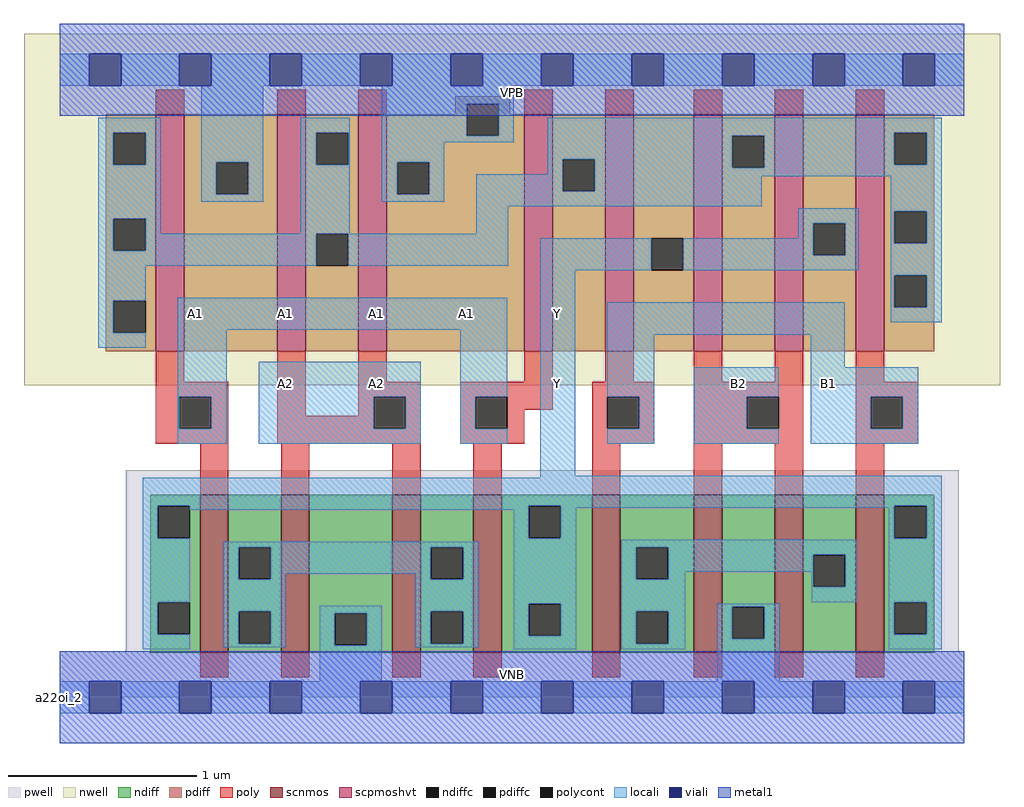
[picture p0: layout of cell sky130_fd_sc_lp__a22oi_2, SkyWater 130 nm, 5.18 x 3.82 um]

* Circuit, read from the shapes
.subckt sky130_fd_sc_lp__a22oi_2 A1 A2 B1 B2 VGND VNB VPB VPWR Y
XM1 n1 A1 Y VNB sky130_fd_pr__nfet_01v8 w=0.84 l=0.15 m=2
XM2 VGND A2 n1 VNB sky130_fd_pr__nfet_01v8 w=0.84 l=0.15 m=2
XM3 n2 B1 Y VNB sky130_fd_pr__nfet_01v8 w=0.84 l=0.15 m=2
XM4 VGND B2 n2 VNB sky130_fd_pr__nfet_01v8 w=0.84 l=0.15 m=2
XM5 VPWR A1 n3 VPB sky130_fd_pr__pfet_01v8_hvt w=1.26 l=0.15 m=2
XM6 n3 A2 VPWR VPB sky130_fd_pr__pfet_01v8_hvt w=1.26 l=0.15 m=2
XM7 Y B1 n3 VPB sky130_fd_pr__pfet_01v8_hvt w=1.26 l=0.15 m=2
XM8 n3 B2 Y VPB sky130_fd_pr__pfet_01v8_hvt w=1.26 l=0.15 m=2
.ends

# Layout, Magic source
magic
tech sky130A
magscale 1 2
<< nwell >>
rect -38 331 998 704
<< pwell >>
rect 70 49 954 241
rect 0 0 960 49
<< scnmos >>
rect 149 47 179 215
rect 235 47 265 215
rect 353 47 383 215
rect 439 47 469 215
rect 565 47 595 215
rect 673 47 703 215
rect 759 47 789 215
rect 845 47 875 215
<< scpmoshvt >>
rect 102 367 132 619
rect 231 367 261 619
rect 317 367 347 619
rect 493 367 523 619
rect 579 367 609 619
rect 673 367 703 619
rect 759 367 789 619
rect 845 367 875 619
<< ndiff >>
rect 96 203 149 215
rect 96 169 104 203
rect 138 169 149 203
rect 96 101 149 169
rect 96 67 104 101
rect 138 67 149 101
rect 96 47 149 67
rect 179 159 235 215
rect 179 125 190 159
rect 224 125 235 159
rect 179 91 235 125
rect 179 57 190 91
rect 224 57 235 91
rect 179 47 235 57
rect 265 89 353 215
rect 265 55 292 89
rect 326 55 353 89
rect 265 47 353 55
rect 383 159 439 215
rect 383 125 394 159
rect 428 125 439 159
rect 383 91 439 125
rect 383 57 394 91
rect 428 57 439 91
rect 383 47 439 57
rect 469 203 565 215
rect 469 169 498 203
rect 532 169 565 203
rect 469 99 565 169
rect 469 65 498 99
rect 532 65 565 99
rect 469 47 565 65
rect 595 159 673 215
rect 595 125 612 159
rect 646 125 673 159
rect 595 91 673 125
rect 595 57 612 91
rect 646 57 673 91
rect 595 47 673 57
rect 703 96 759 215
rect 703 62 714 96
rect 748 62 759 96
rect 703 47 759 62
rect 789 151 845 215
rect 789 117 800 151
rect 834 117 845 151
rect 789 47 845 117
rect 875 203 928 215
rect 875 169 886 203
rect 920 169 928 203
rect 875 101 928 169
rect 875 67 886 101
rect 920 67 928 101
rect 875 47 928 67
<< pdiff >>
rect 420 630 478 638
rect 420 619 432 630
rect 49 599 102 619
rect 49 565 57 599
rect 91 565 102 599
rect 49 508 102 565
rect 49 474 57 508
rect 91 474 102 508
rect 49 421 102 474
rect 49 387 57 421
rect 91 387 102 421
rect 49 367 102 387
rect 132 568 231 619
rect 132 534 166 568
rect 200 534 231 568
rect 132 367 231 534
rect 261 599 317 619
rect 261 565 272 599
rect 306 565 317 599
rect 261 492 317 565
rect 261 458 272 492
rect 306 458 317 492
rect 261 367 317 458
rect 347 596 432 619
rect 466 619 478 630
rect 466 596 493 619
rect 347 568 493 596
rect 347 534 358 568
rect 392 534 493 568
rect 347 367 493 534
rect 523 571 579 619
rect 523 537 534 571
rect 568 537 579 571
rect 523 367 579 537
rect 609 487 673 619
rect 609 453 628 487
rect 662 453 673 487
rect 609 367 673 453
rect 703 596 759 619
rect 703 562 714 596
rect 748 562 759 596
rect 703 367 759 562
rect 789 503 845 619
rect 789 469 800 503
rect 834 469 845 503
rect 789 367 845 469
rect 875 599 928 619
rect 875 565 886 599
rect 920 565 928 599
rect 875 516 928 565
rect 875 482 886 516
rect 920 482 928 516
rect 875 448 928 482
rect 875 414 886 448
rect 920 414 928 448
rect 875 367 928 414
<< ndiffc >>
rect 104 169 138 203
rect 104 67 138 101
rect 190 125 224 159
rect 190 57 224 91
rect 292 55 326 89
rect 394 125 428 159
rect 394 57 428 91
rect 498 169 532 203
rect 498 65 532 99
rect 612 125 646 159
rect 612 57 646 91
rect 714 62 748 96
rect 800 117 834 151
rect 886 169 920 203
rect 886 67 920 101
<< pdiffc >>
rect 57 565 91 599
rect 57 474 91 508
rect 57 387 91 421
rect 166 534 200 568
rect 272 565 306 599
rect 272 458 306 492
rect 432 596 466 630
rect 358 534 392 568
rect 534 537 568 571
rect 628 453 662 487
rect 714 562 748 596
rect 800 469 834 503
rect 886 565 920 599
rect 886 482 920 516
rect 886 414 920 448
<< poly >>
rect 102 619 132 645
rect 231 619 261 645
rect 317 619 347 645
rect 493 619 523 645
rect 579 619 609 645
rect 673 619 703 645
rect 759 619 789 645
rect 845 619 875 645
rect 102 335 132 367
rect 102 319 179 335
rect 102 285 127 319
rect 161 285 179 319
rect 102 269 179 285
rect 231 299 261 367
rect 317 335 347 367
rect 493 335 523 367
rect 579 335 609 367
rect 673 335 703 367
rect 759 335 789 367
rect 317 319 383 335
rect 317 299 333 319
rect 231 285 333 299
rect 367 285 383 319
rect 231 269 383 285
rect 425 319 523 335
rect 425 285 441 319
rect 475 305 523 319
rect 565 319 631 335
rect 475 285 493 305
rect 425 269 493 285
rect 565 285 581 319
rect 615 285 631 319
rect 565 269 631 285
rect 673 319 789 335
rect 673 285 729 319
rect 763 285 789 319
rect 673 269 789 285
rect 149 215 179 269
rect 235 215 265 269
rect 353 215 383 269
rect 439 215 469 269
rect 565 215 595 269
rect 673 215 703 269
rect 759 215 789 269
rect 845 335 875 367
rect 845 319 911 335
rect 845 285 861 319
rect 895 285 911 319
rect 845 269 911 285
rect 845 215 875 269
rect 149 21 179 47
rect 235 21 265 47
rect 353 21 383 47
rect 439 21 469 47
rect 565 21 595 47
rect 673 21 703 47
rect 759 21 789 47
rect 845 21 875 47
<< polycont >>
rect 127 285 161 319
rect 333 285 367 319
rect 441 285 475 319
rect 581 285 615 319
rect 729 285 763 319
rect 861 285 895 319
<< locali >>
rect 0 649 31 683
rect 65 649 127 683
rect 161 649 223 683
rect 257 649 319 683
rect 353 649 415 683
rect 449 649 511 683
rect 545 649 607 683
rect 641 649 703 683
rect 737 649 799 683
rect 833 649 895 683
rect 929 649 960 683
rect 41 599 107 615
rect 41 565 57 599
rect 91 565 107 599
rect 41 508 107 565
rect 150 568 216 649
rect 342 630 482 649
rect 150 534 166 568
rect 200 534 216 568
rect 150 526 216 534
rect 256 599 308 615
rect 256 565 272 599
rect 306 565 308 599
rect 41 474 57 508
rect 91 492 107 508
rect 256 492 308 565
rect 342 596 432 630
rect 466 596 482 630
rect 342 589 482 596
rect 518 599 936 615
rect 518 596 886 599
rect 342 568 408 589
rect 342 534 358 568
rect 392 534 408 568
rect 518 571 714 596
rect 518 555 534 571
rect 342 526 408 534
rect 442 537 534 555
rect 568 562 714 571
rect 748 565 886 596
rect 920 565 936 599
rect 748 562 936 565
rect 568 553 936 562
rect 568 537 745 553
rect 442 521 745 537
rect 442 492 476 521
rect 91 474 272 492
rect 41 458 272 474
rect 306 458 476 492
rect 784 503 848 519
rect 784 487 800 503
rect 41 421 91 458
rect 510 453 628 487
rect 662 469 800 487
rect 834 469 848 503
rect 662 453 848 469
rect 882 516 936 553
rect 882 482 886 516
rect 920 482 936 516
rect 41 387 57 421
rect 41 371 91 387
rect 125 390 475 424
rect 125 319 177 390
rect 125 285 127 319
rect 161 285 177 319
rect 125 269 177 285
rect 211 319 383 356
rect 211 285 333 319
rect 367 285 383 319
rect 211 269 383 285
rect 425 319 475 390
rect 425 285 441 319
rect 425 269 475 285
rect 510 235 547 453
rect 882 448 936 482
rect 581 385 833 419
rect 882 414 886 448
rect 920 414 936 448
rect 882 398 936 414
rect 581 319 631 385
rect 797 350 833 385
rect 615 285 631 319
rect 581 269 631 285
rect 673 319 763 350
rect 673 285 729 319
rect 673 269 763 285
rect 797 319 911 350
rect 797 285 861 319
rect 895 285 911 319
rect 797 269 911 285
rect 510 233 936 235
rect 88 203 936 233
rect 88 169 104 203
rect 138 199 498 203
rect 88 101 138 169
rect 482 169 498 199
rect 532 201 886 203
rect 532 169 548 201
rect 88 67 104 101
rect 88 51 138 67
rect 174 159 444 165
rect 174 125 190 159
rect 224 131 394 159
rect 224 125 240 131
rect 174 91 240 125
rect 378 125 394 131
rect 428 125 444 159
rect 174 57 190 91
rect 224 57 240 91
rect 174 53 240 57
rect 276 89 342 97
rect 276 55 292 89
rect 326 55 342 89
rect 276 17 342 55
rect 378 91 444 125
rect 378 57 394 91
rect 428 57 444 91
rect 378 53 444 57
rect 482 99 548 169
rect 880 169 886 201
rect 920 169 936 203
rect 482 65 498 99
rect 532 65 548 99
rect 482 51 548 65
rect 596 159 846 167
rect 596 125 612 159
rect 646 151 846 159
rect 646 133 800 151
rect 646 125 664 133
rect 596 91 664 125
rect 798 117 800 133
rect 834 117 846 151
rect 798 101 846 117
rect 880 101 936 169
rect 596 57 612 91
rect 646 57 664 91
rect 596 51 664 57
rect 698 96 764 99
rect 698 62 714 96
rect 748 62 764 96
rect 698 17 764 62
rect 880 67 886 101
rect 920 67 936 101
rect 880 51 936 67
rect 0 -17 31 17
rect 65 -17 127 17
rect 161 -17 223 17
rect 257 -17 319 17
rect 353 -17 415 17
rect 449 -17 511 17
rect 545 -17 607 17
rect 641 -17 703 17
rect 737 -17 799 17
rect 833 -17 895 17
rect 929 -17 960 17
<< viali >>
rect 31 649 65 683
rect 127 649 161 683
rect 223 649 257 683
rect 319 649 353 683
rect 415 649 449 683
rect 511 649 545 683
rect 607 649 641 683
rect 703 649 737 683
rect 799 649 833 683
rect 895 649 929 683
rect 31 -17 65 17
rect 127 -17 161 17
rect 223 -17 257 17
rect 319 -17 353 17
rect 415 -17 449 17
rect 511 -17 545 17
rect 607 -17 641 17
rect 703 -17 737 17
rect 799 -17 833 17
rect 895 -17 929 17
<< metal1 >>
rect 0 683 960 715
rect 0 649 31 683
rect 65 649 127 683
rect 161 649 223 683
rect 257 649 319 683
rect 353 649 415 683
rect 449 649 511 683
rect 545 649 607 683
rect 641 649 703 683
rect 737 649 799 683
rect 833 649 895 683
rect 929 649 960 683
rect 0 617 960 649
rect 0 17 960 49
rect 0 -17 31 17
rect 65 -17 127 17
rect 161 -17 223 17
rect 257 -17 319 17
rect 353 -17 415 17
rect 449 -17 511 17
rect 545 -17 607 17
rect 641 -17 703 17
rect 737 -17 799 17
rect 833 -17 895 17
rect 929 -17 960 17
rect 0 -49 960 -17
<< labels >>
flabel pwell s 0 0 960 49 0 FreeSans 200 0 0 0 VNB
port 6 nsew ground bidirectional
flabel nwell s 0 617 960 666 0 FreeSans 200 0 0 0 VPB
port 7 nsew power bidirectional
rlabel comment s 0 0 0 0 4 a22oi_2
flabel metal1 s 0 617 960 666 0 FreeSans 340 0 0 0 VPWR
port 8 nsew power bidirectional
flabel metal1 s 0 0 960 49 0 FreeSans 340 0 0 0 VGND
port 5 nsew ground bidirectional
flabel locali s 127 390 161 424 0 FreeSans 340 0 0 0 A1
port 1 nsew signal input
flabel locali s 223 390 257 424 0 FreeSans 340 0 0 0 A1
port 1 nsew signal input
flabel locali s 319 390 353 424 0 FreeSans 340 0 0 0 A1
port 1 nsew signal input
flabel locali s 415 390 449 424 0 FreeSans 340 0 0 0 A1
port 1 nsew signal input
flabel locali s 223 316 257 350 0 FreeSans 340 0 0 0 A2
port 2 nsew signal input
flabel locali s 319 316 353 350 0 FreeSans 340 0 0 0 A2
port 2 nsew signal input
flabel locali s 703 316 737 350 0 FreeSans 340 0 0 0 B2
port 4 nsew signal input
flabel locali s 799 316 833 350 0 FreeSans 340 0 0 0 B1
port 3 nsew signal input
flabel locali s 511 316 545 350 0 FreeSans 340 0 0 0 Y
port 9 nsew signal output
flabel locali s 511 390 545 424 0 FreeSans 340 0 0 0 Y
port 9 nsew signal output
<< properties >>
string LEFsite unit
string LEFclass CORE
string FIXED_BBOX 0 0 960 666
string GDS_FILE $PDKPATH/libs.ref/sky130_fd_sc_lp/gds/sky130_fd_sc_lp.gds
string LEFsymmetry X Y R90
string GDS_END 383438
string GDS_START 375300
<< end >>
